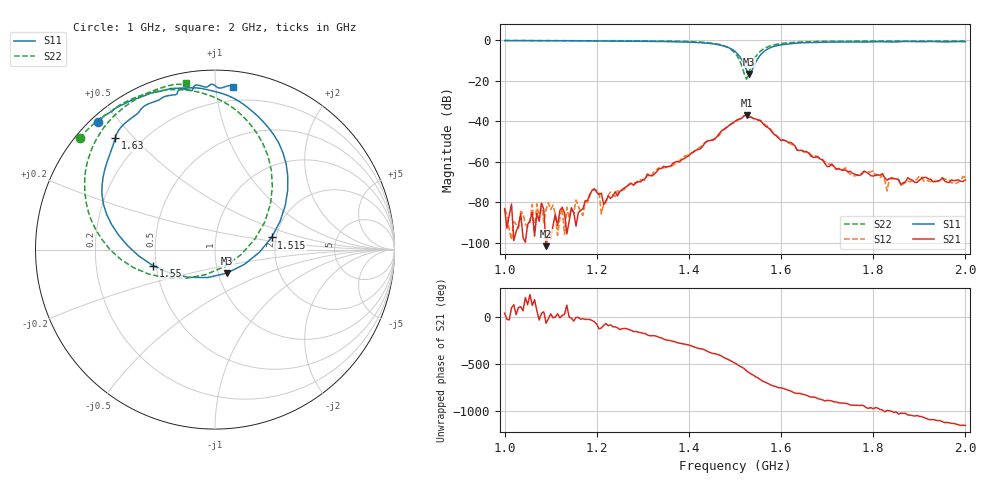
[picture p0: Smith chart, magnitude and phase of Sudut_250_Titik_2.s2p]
# Hz S RI R 50
! CMT, C1220, 16058040, 17.2.0/1
! Date: 14/08/2018 12:48:41
! Data: Format (Calibration Info)
! Freq  S11: Re/Im (F2)  S21: Re/Im (F2)  S12: Re/Im (F2)  S22: Re/Im (F2)
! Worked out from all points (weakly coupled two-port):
!   201 points, 1 GHz to 2 GHz, reference 50 ohm
!   highest |S21| = -36.89 dB at 1.525 GHz (marker M1); lowest = -101.5 dB at 1.09 GHz (marker M2)
!   lowest |S11| = -16.7 dB at 1.53 GHz (marker M3), VSWR 1.34, Z = 55 - j14.7 ohm
!   |S11| at or under -10 dB: 1.515 GHz to 1.547 GHz (32.03 MHz wide, 2.09 % of centre)
!   |S22| runs from -19.2 to -0.2 dB; largest |S21 - S12| = 0.0006
!   S11 on the Smith chart (normalised r, x): 1 GHz: 0.02, +0.44; 1.515 GHz: 1.89, +0.29; 1.55 GHz: 0.48, -0.10; 1.63 GHz: 0.11, +0.44; 2 GHz: 0.10, +1.11
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1e9  -0.6519 0.7133  5.01e-05 5e-05  -3.4e-05 -5.91e-05  -0.7538 0.6217
1.09e9  -0.5645 0.7796  3.96e-06 -7.39e-06  2.45e-05 6.16e-05  -0.6894 0.6883
1.17e9  -0.4818 0.824  6.78e-05 -1.73e-05  4.65e-05 1.14e-05  -0.6182 0.7468
1.195e9  -0.4452 0.8394  0.000149 -0.000159  0.000113 -0.000172  -0.5895 0.7598
1.22e9  -0.4175 0.8479  4.58e-05 -0.000101  4.5e-05 -8.68e-05  -0.5737 0.774
1.23e9  -0.4002 0.8545  2.61e-05 -0.000123  9.74e-07 -0.00018  -0.563 0.7837
1.24e9  -0.3811 0.8622  -3.33e-05 -0.00018  -7.12e-05 -0.00012  -0.5512 0.792
1.335e9  -0.2196 0.8984  -0.000582 0.000356  -0.00056 0.000437  -0.404 0.8616
1.45e9  0.1806 0.7929  0.00316 -0.00123  0.00311 -0.00149  0.019 0.8376
1.5e9  0.4052 0.333  -0.00595 -0.00796  -0.00564 -0.00745  0.3195 0.3521
1.515e9  0.3156 0.0678  -0.0118 -0.0021  -0.0118 -0.00243  0.2217 0.0582
1.525e9  0.1639 -0.0821  -0.0125 0.00687  -0.0127 0.00685  0.0534 -0.0952
1.53e9  0.0664 -0.1309  -0.00873 0.0092  -0.00883 0.00922  -0.0536 -0.1397
1.55e9  -0.3441 -0.0905  0.00262 0.0104  0.0022 0.0105  -0.455 -0.0999
1.58e9  -0.6213 0.2524  0.00549 -0.000457  0.00568 -0.00071  -0.7056 0.2109
1.63e9  -0.5562 0.6212  0.000219 -0.00247  0.000299 -0.00243  -0.6947 0.5388
1.67e9  -0.4477 0.7457  -0.000771 -0.00103  -0.000828 -0.00107  -0.6279 0.6678
1.755e9  -0.2801 0.8528  -0.00043 0.000297  -0.00039 0.00022  -0.4929 0.8032
1.82e9  -0.1722 0.8933  -4.67e-05 0.000512  2.71e-06 0.000477  -0.4014 0.8592
1.83e9  -0.147 0.8893  -1.02e-06 0.000355  7.2e-05 0.000179  -0.3879 0.8658
1.835e9  -0.1366 0.8873  2.81e-05 0.000385  9.17e-05 0.000368  -0.3813 0.8693
2e9  0.1011 0.9064  0.000122 -0.000339  8.82e-05 -0.000403  -0.1595 0.93
